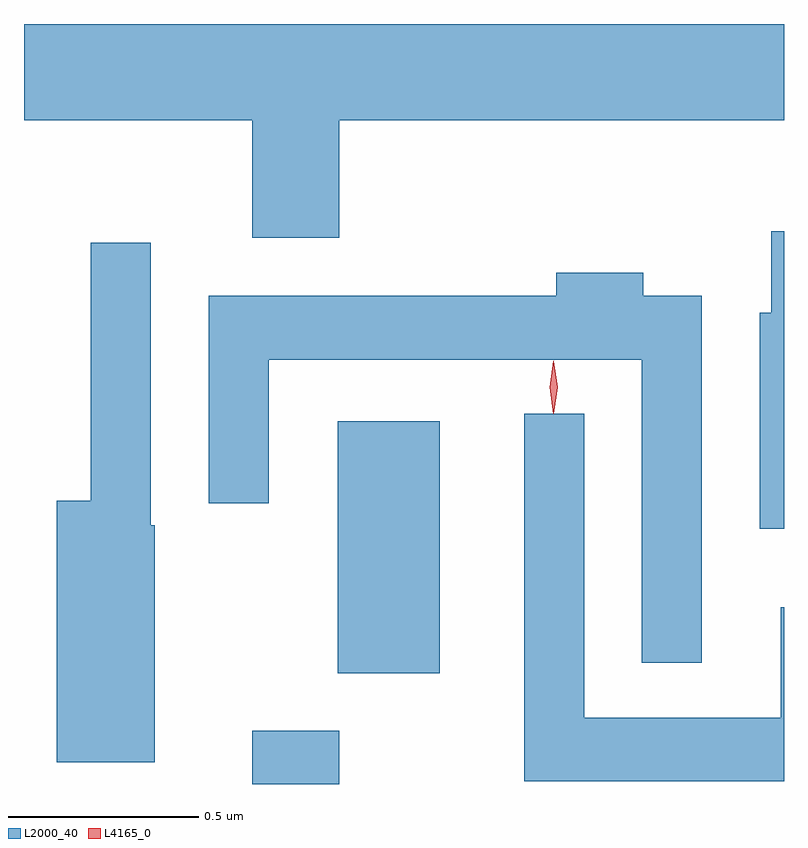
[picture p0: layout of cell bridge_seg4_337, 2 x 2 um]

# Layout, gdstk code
import gdstk
lib = gdstk.Library(unit=1e-6, precision=1e-09)
def R(c, l, rs):  # rectangles x0, y0, x1, y1
    for r in rs: c.add(gdstk.rectangle(r[:2], r[2:], *l))
def P(c, l, *ps):  # polygons
    for p in ps: c.add(gdstk.Polygon(p, *l))
L2000_40 = (2000, 40)
L4165_0 = (4165, 0)

bridge_seg4_337 = lib.new_cell('bridge_seg4_337')
R(bridge_seg4_337, L2000_40, [(723.051,1306.309,723.279,1306.449), (723.276,1306.601,723.544,1307.264)])
P(bridge_seg4_337, L2000_40, [(723.279,1308.056),(724.45,1308.056),(724.45,1308.309),(722.45,1308.309),(722.45,1308.056),(723.051,1308.056),(723.051,1307.746),(723.279,1307.746)],
  [(724.45,1307.764),(724.416,1307.764),(724.416,1307.549),(724.386,1307.549),(724.386,1306.981),(724.45,1306.981)],
  [(722.794,1306.99),(722.784,1306.99),(722.784,1307.733),(722.626,1307.733),(722.626,1307.054),(722.536,1307.054),(722.536,1306.366),(722.794,1306.366)],
  [(724.234,1307.594),(724.079,1307.594),(724.079,1307.654),(723.851,1307.654),(723.851,1307.594),(722.936,1307.594),(722.936,1307.048),(723.094,1307.048),(723.094,1307.426),(724.076,1307.426),(724.076,1306.628),(724.234,1306.628)],
  [(724.45,1306.774),(724.441,1306.774),(724.441,1306.484),(723.924,1306.484),(723.924,1307.283),(723.766,1307.283),(723.766,1306.316),(724.45,1306.316)])
P(bridge_seg4_337, L4165_0, [(723.844,1307.283),(723.843,1307.284),(723.834,1307.353),(723.843,1307.422),(723.844,1307.423),(723.844,1307.422),(723.854,1307.353),(723.844,1307.284)])

lib.write_gds('bridge_seg4_337.gds')
